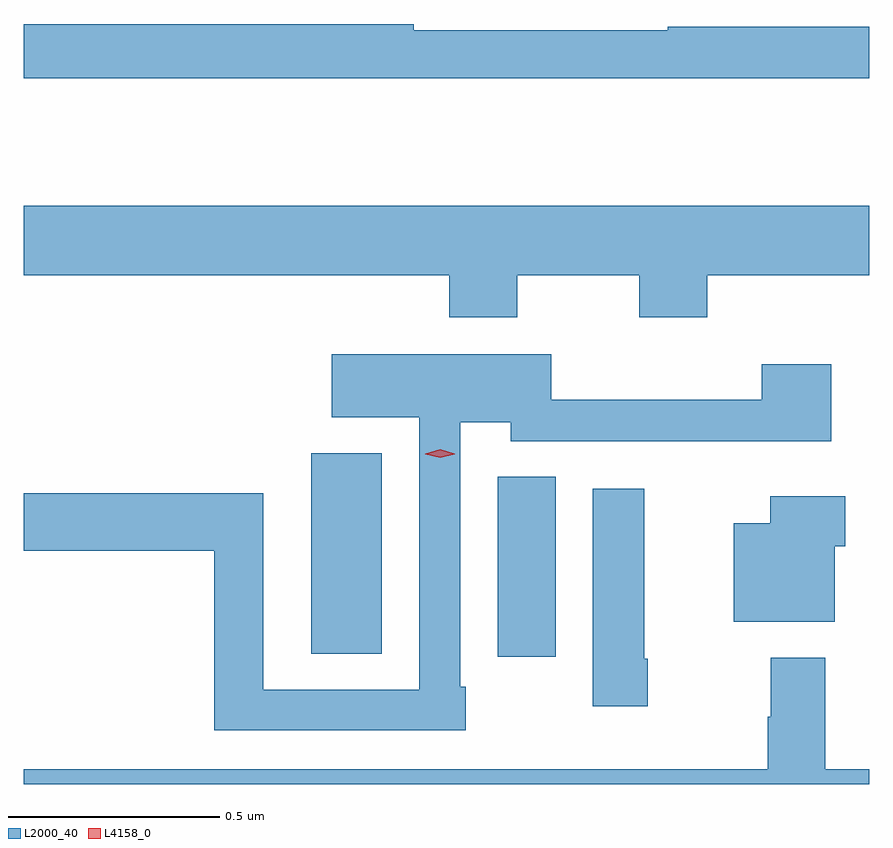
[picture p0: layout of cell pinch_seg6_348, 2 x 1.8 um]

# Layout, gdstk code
import gdstk
lib = gdstk.Library(unit=1e-6, precision=1e-09)
def R(c, l, rs):  # rectangles x0, y0, x1, y1
    for r in rs: c.add(gdstk.rectangle(r[:2], r[2:], *l))
def P(c, l, *ps):  # polygons
    for p in ps: c.add(gdstk.Polygon(p, *l))
L2000_40 = (2000, 40)
L4158_0 = (4158, 0)

pinch_seg6_348 = lib.new_cell('pinch_seg6_348')
R(pinch_seg6_348, L2000_40, [(708.149,941.106,708.286,941.531), (707.708,941.113,707.875,941.587)])
P(pinch_seg6_348, L2000_40, [(709.028,942.595),(708.551,942.595),(708.551,942.587),(707.951,942.587),(707.951,942.602),(707.028,942.602),(707.028,942.474),(709.028,942.474)],
  [(708.195,942.008),(708.484,942.008),(708.484,941.909),(708.644,941.909),(708.644,942.008),(709.028,942.008),(709.028,942.172),(707.028,942.172),(707.028,942.008),(708.035,942.008),(708.035,941.909),(708.195,941.909)],
  [(708.073,941.035),(708.06,941.035),(708.06,941.66),(708.18,941.66),(708.18,941.616),(708.689,941.616),(708.689,941.615),(708.938,941.615),(708.938,941.797),(708.773,941.797),(708.773,941.714),(708.276,941.714),(708.276,941.821),(707.757,941.821),(707.757,941.672),(707.964,941.672),(707.964,941.028),(707.595,941.028),(707.595,941.492),(707.028,941.492),(707.028,941.356),(707.479,941.356),(707.479,940.932),(708.073,940.932)],
  [(708.504,941.101),(708.496,941.101),(708.496,941.503),(708.374,941.503),(708.374,940.989),(708.504,940.989)],
  [(708.946,941.367),(708.971,941.367),(708.971,941.485),(708.793,941.485),(708.793,941.422),(708.707,941.422),(708.707,941.189),(708.946,941.189)],
  [(709.028,940.84),(708.923,940.84),(708.923,941.104),(708.795,941.104),(708.795,940.964),(708.787,940.964),(708.787,940.84),(707.028,940.84),(707.028,940.805),(709.028,940.805)])
P(pinch_seg6_348, L4158_0, [(708.013,941.576),(707.978,941.585),(707.978,941.586),(707.978,941.586),(708.013,941.596),(708.048,941.586),(708.048,941.586),(708.048,941.585)])

lib.write_gds('pinch_seg6_348.gds')
